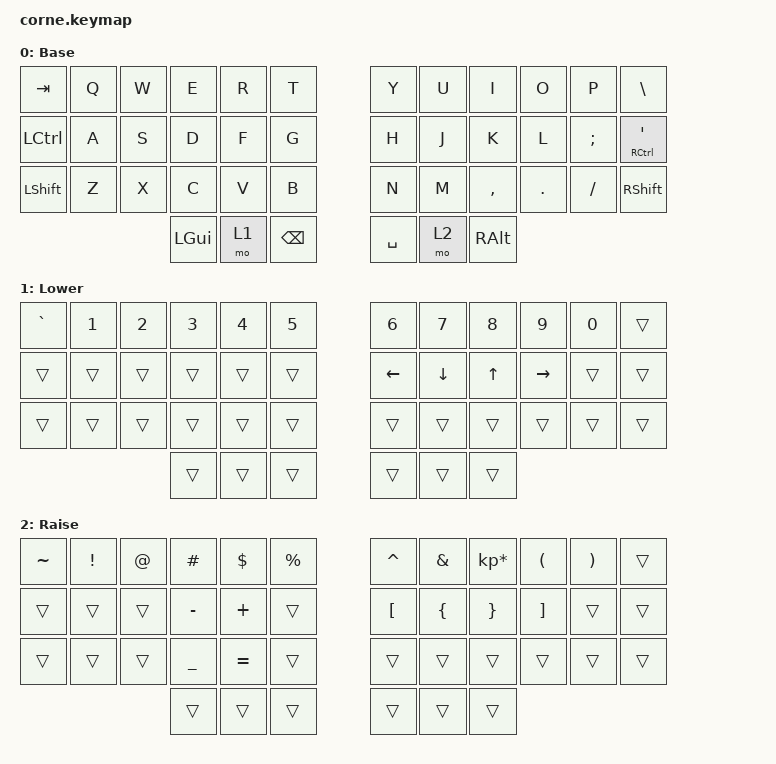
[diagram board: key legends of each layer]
/*
 * Copyright (c) 2020 The ZMK Contributors
 *
 * SPDX-License-Identifier: MIT
 */

#include <behaviors.dtsi>
#include <dt-bindings/zmk/keys.h>
#include <dt-bindings/zmk/bt.h>

// TODO:
// - [X] !! Add enter key
// - [ ] ! Add bt keys
// - [ ] Add media keys
// - [ ] Add firmware keys
// - [ ] Chord raise/lower

&mt {
        flavor = "tap-preferred";
        tapping-term-ms = <200>;
};

// * LAYERS
/ {
        keymap {
                compatible = "zmk,keymap";

                default_layer {
// -----------------------------------------------------------------------------------------
// |  TAB |  Q  |  W  |  E  |  R  |  T  |   |  Y  |  U   |  I  |  O  |  P  | \     |
// | CTRL |  A  |  S  |  D  |  F  |  G  |   |  H  |  J   |  K  |  L  |  ;  |  '    |
// | SHFT |  Z  |  X  |  C  |  V  |  B  |   |  N  |  M   |  ,  |  .  |  /  | SHFT  |
//                    | GUI | LWR | BKSP |   | SPC | RSE  | ALT |
                        display-name = "Base";
                        bindings = <
   &kp TAB   &kp Q &kp W       &kp E      &kp R      &kp T    /* */  &kp Y     &kp U      &kp I      &kp O       &kp P    &kp BSLH
   &kp LCTRL &kp A &kp S       &kp D      &kp F      &kp G    /* */  &kp H     &kp J      &kp K      &kp L       &kp SEMI &mt RCTRL SQT
   &kp LSHFT &kp Z &kp X       &kp C      &kp V      &kp B    /* */  &kp N     &kp M      &kp COMMA  &kp DOT     &kp FSLH &kp RSHFT
                               &kp LGUI   &mo 1      &kp BKSP /* */  &kp SPACE &mo 2      &kp RALT
                        >;
                };
                lower_layer {
// -----------------------------------------------------------------------------------------
// | `    |  1  |  2  |  3  |  4  |  5  |   |  6  |  7  |  8  |  9  |  0  |      |
// |      |     |     |     |     |     |   | LFT | DWN |  UP | RGT |     |      |
// |      |     |     |     |     |     |   |     |     |     |     |     |      |
//                    |     |     |     |   |     |     |     |
                        display-name = "Lower";
                        bindings = <
   &kp GRAVE &kp N1 &kp N2 &kp N3    &kp N4   &kp N5  /* */  &kp N6   &kp N7   &kp N8 &kp N9    &kp N0 &trans
   &trans    &trans &trans &trans    &trans   &trans  /* */  &kp LEFT &kp DOWN &kp UP &kp RIGHT &trans &trans
   &trans    &trans &trans &trans    &trans   &trans  /* */  &trans   &trans   &trans &trans    &trans &trans
                           &trans    &trans   &trans  /* */  &trans   &trans   &trans
                        >;
                };

                raise_layer {
// -----------------------------------------------------------------------------------------
// |  ~   |  !  |  @  |  #  |  $  |  %  |   |  ^  |  &  |  *  |  (  |  )  |      |
// |      |     |     |  -  |  +  |     |   |  [  |  {  |  }  |  ]  |     |      |
// |      |     |     |  _  |  =  |     |   |     |     |     |     |     |      |
//                    |     |     |     |   |     |     |     |
                        display-name = "Raise";
                        bindings = <
   &kp TILDE &kp EXCL &kp AT &kp HASH  &kp DLLR   &kp PRCNT /* */  &kp CARET &kp AMPS  &kp KP_MULTIPLY &kp LPAR &kp RPAR &trans
   &trans    &trans   &trans &kp MINUS &kp PLUS   &trans    /* */  &kp LBKT  &kp LBRC  &kp RBRC        &kp RBKT &trans   &trans
   &trans    &trans   &trans &kp UNDER &kp EQUAL  &trans    /* */  &trans    &trans    &trans          &trans   &trans   &trans
                             &trans    &trans     &trans    /* */  &trans    &trans    &trans
                        >;
                };
        };
};

// * COMBOS
/ {
        combos {
                compatible = "zmk,combos";
                combo_esc_jk {
                        timeout-ms = <50>;
                        key-positions = <19 20>;
                        bindings = <&kp ESC>;
                };
                combo_enter_kl {
                        timeout-ms = <50>;
                        key-positions = <20 21>;
                        bindings = <&kp RET>;
                };
        };
};

